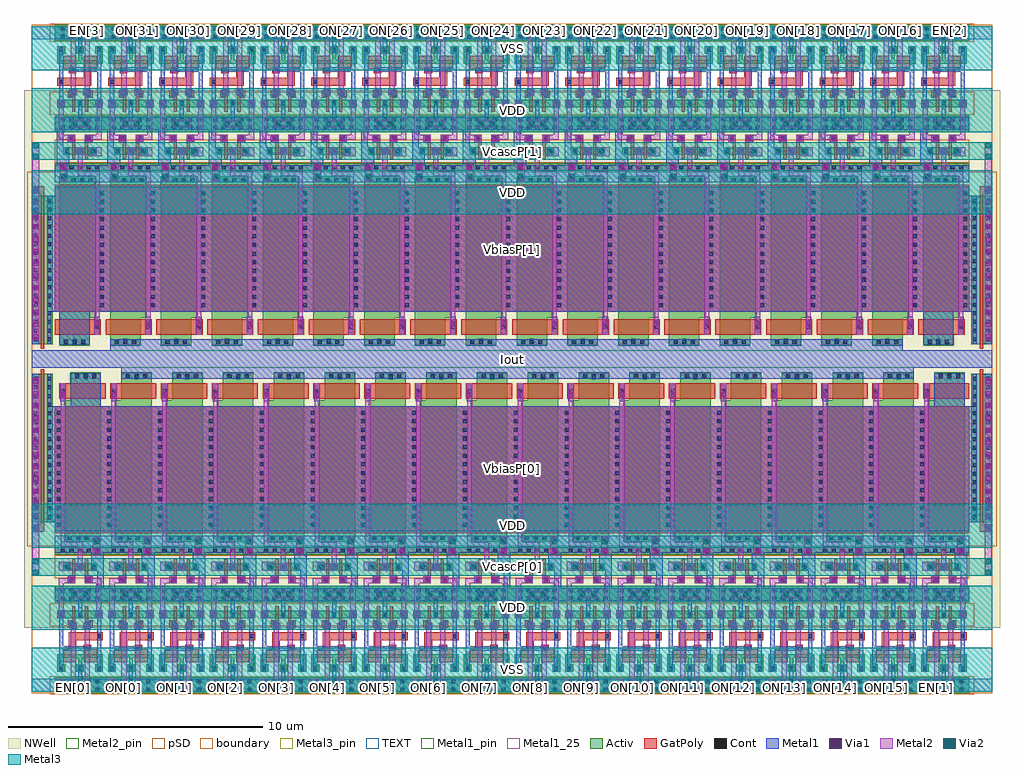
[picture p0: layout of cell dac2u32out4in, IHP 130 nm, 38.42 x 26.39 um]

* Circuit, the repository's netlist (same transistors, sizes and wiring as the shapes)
** sch_path: /home/cmaier/EDA/PUDDING/xschem/dac2u32out4in.sch
.subckt dac2u32out4in VDD EN[1] EN[0] ENB[1] ENB[0] ON[31] ON[30] ON[29] ON[28] ON[27] ON[26] ON[25] ON[24] ON[23] ON[22] ON[21]
+ ON[20] ON[19] ON[18] ON[17] ON[16] ON[15] ON[14] ON[13] ON[12] ON[11] ON[10] ON[9] ON[8] ON[7] ON[6] ON[5] ON[4] ON[3] ON[2] ON[1] ON[0]
+ ONB[15] ONB[14] ONB[13] ONB[12] ONB[11] ONB[10] ONB[9] ONB[8] ONB[7] ONB[6] ONB[5] ONB[4] ONB[3] ONB[2] ONB[1] ONB[0] ENB[3] ENB[2]
+ ONB[31] ONB[30] ONB[29] ONB[28] ONB[27] ONB[26] ONB[25] ONB[24] ONB[23] ONB[22] ONB[21] ONB[20] ONB[19] ONB[18] ONB[17] ONB[16] EN[3]
+ EN[2] Iout Vpcbias[1] Vpcbias[0] Vpbias[1] Vpbias[0] VSS
*.PININFO Iout:B ON[15:0]:I ONB[15:0]:I VSS:B VDD:B Vpcbias[1:0]:B EN[1:0]:I ENB[1:0]:I ON[31:16]:I ONB[31:16]:I EN[3:2]:I
*+ ENB[3:2]:I Vpbias[1:0]:B
Mcbias[0] Vpcbias[0] Vpcbias[0] Vpbias[0] VDD sg13_lv_pmos w=5.85u l=0.15u ng=1 m=2
xref[1] VDD Vpbias[0] EN[1] ENB[1] Vpbias[0] Vpcbias[0] VSS unitsource2u
xref[0] VDD Vpbias[0] EN[0] ENB[0] Vpbias[0] Vpcbias[0] VSS unitsource2u
xsrc[15] VDD Vpbias[0] ON[15] ONB[15] Iout Vpcbias[0] VSS unitsource2u
xsrc[14] VDD Vpbias[0] ON[14] ONB[14] Iout Vpcbias[0] VSS unitsource2u
xsrc[13] VDD Vpbias[0] ON[13] ONB[13] Iout Vpcbias[0] VSS unitsource2u
xsrc[12] VDD Vpbias[0] ON[12] ONB[12] Iout Vpcbias[0] VSS unitsource2u
xsrc[11] VDD Vpbias[0] ON[11] ONB[11] Iout Vpcbias[0] VSS unitsource2u
xsrc[10] VDD Vpbias[0] ON[10] ONB[10] Iout Vpcbias[0] VSS unitsource2u
xsrc[9] VDD Vpbias[0] ON[9] ONB[9] Iout Vpcbias[0] VSS unitsource2u
xsrc[8] VDD Vpbias[0] ON[8] ONB[8] Iout Vpcbias[0] VSS unitsource2u
xsrc[7] VDD Vpbias[0] ON[7] ONB[7] Iout Vpcbias[0] VSS unitsource2u
xsrc[6] VDD Vpbias[0] ON[6] ONB[6] Iout Vpcbias[0] VSS unitsource2u
xsrc[5] VDD Vpbias[0] ON[5] ONB[5] Iout Vpcbias[0] VSS unitsource2u
xsrc[4] VDD Vpbias[0] ON[4] ONB[4] Iout Vpcbias[0] VSS unitsource2u
xsrc[3] VDD Vpbias[0] ON[3] ONB[3] Iout Vpcbias[0] VSS unitsource2u
xsrc[2] VDD Vpbias[0] ON[2] ONB[2] Iout Vpcbias[0] VSS unitsource2u
xsrc[1] VDD Vpbias[0] ON[1] ONB[1] Iout Vpcbias[0] VSS unitsource2u
xsrc[0] VDD Vpbias[0] ON[0] ONB[0] Iout Vpcbias[0] VSS unitsource2u
Mcbias[1] Vpcbias[1] Vpcbias[1] Vpbias[1] VDD sg13_lv_pmos w=5.85u l=0.15u ng=1 m=2
xref[3] VDD Vpbias[1] EN[3] ENB[3] Vpbias[1] Vpcbias[1] VSS unitsource2u
xref[2] VDD Vpbias[1] EN[2] ENB[2] Vpbias[1] Vpcbias[1] VSS unitsource2u
xsrc[31] VDD Vpbias[1] ON[31] ONB[31] Iout Vpcbias[1] VSS unitsource2u
xsrc[30] VDD Vpbias[1] ON[30] ONB[30] Iout Vpcbias[1] VSS unitsource2u
xsrc[29] VDD Vpbias[1] ON[29] ONB[29] Iout Vpcbias[1] VSS unitsource2u
xsrc[28] VDD Vpbias[1] ON[28] ONB[28] Iout Vpcbias[1] VSS unitsource2u
xsrc[27] VDD Vpbias[1] ON[27] ONB[27] Iout Vpcbias[1] VSS unitsource2u
xsrc[26] VDD Vpbias[1] ON[26] ONB[26] Iout Vpcbias[1] VSS unitsource2u
xsrc[25] VDD Vpbias[1] ON[25] ONB[25] Iout Vpcbias[1] VSS unitsource2u
xsrc[24] VDD Vpbias[1] ON[24] ONB[24] Iout Vpcbias[1] VSS unitsource2u
xsrc[23] VDD Vpbias[1] ON[23] ONB[23] Iout Vpcbias[1] VSS unitsource2u
xsrc[22] VDD Vpbias[1] ON[22] ONB[22] Iout Vpcbias[1] VSS unitsource2u
xsrc[21] VDD Vpbias[1] ON[21] ONB[21] Iout Vpcbias[1] VSS unitsource2u
xsrc[20] VDD Vpbias[1] ON[20] ONB[20] Iout Vpcbias[1] VSS unitsource2u
xsrc[19] VDD Vpbias[1] ON[19] ONB[19] Iout Vpcbias[1] VSS unitsource2u
xsrc[18] VDD Vpbias[1] ON[18] ONB[18] Iout Vpcbias[1] VSS unitsource2u
xsrc[17] VDD Vpbias[1] ON[17] ONB[17] Iout Vpcbias[1] VSS unitsource2u
xsrc[16] VDD Vpbias[1] ON[16] ONB[16] Iout Vpcbias[1] VSS unitsource2u
.ends

* expanding   symbol:  unitsource2u.sym # of pins=7
** sym_path: /home/cmaier/EDA/PUDDING/xschem/unitsource2u.sym
** sch_path: /home/cmaier/EDA/PUDDING/xschem/unitsource2u.sch
.subckt unitsource2u VDD VbiasP ON ONB Iout VcascP VSS
*.PININFO VSS:B VDD:B VbiasP:B VcascP:B ON:I ONB:I Iout:B
xnonoverlap VDD VSS ON ONB on_n off_n nonoverlap
xsw VDD off_n Vcasc on_n VcascP cascodeswitch_pmos
xsrc VDD VbiasP Vcasc Iout pcsource2u
.ends


* expanding   symbol:  nonoverlap.sym # of pins=6
** sym_path: /home/cmaier/EDA/PUDDING/xschem/nonoverlap.sym
** sch_path: /home/cmaier/EDA/PUDDING/xschem/nonoverlap.sch
.subckt nonoverlap VDD VSS INP INN OUTN OUTP
*.PININFO VSS:B VDD:B INP:I INN:I OUTP:O OUTN:O
M1 OUTN INP VDD VDD sg13_lv_pmos w=0.3u l=0.13u ng=1 m=1
M2 OUTP INN VDD VDD sg13_lv_pmos w=0.3u l=0.13u ng=1 m=1
M3 OUTN OUTP VSS VSS sg13_lv_nmos w=0.15u l=0.52u ng=1 m=1
M4 OUTP OUTN VSS VSS sg13_lv_nmos w=0.15u l=0.52u ng=1 m=1
.ends


* expanding   symbol:  cascodeswitch_pmos.sym # of pins=5
** sym_path: /home/cmaier/EDA/PUDDING/xschem/cascodeswitch_pmos.sym
** sch_path: /home/cmaier/EDA/PUDDING/xschem/cascodeswitch_pmos.sch
.subckt cascodeswitch_pmos VDD off_n Vcasc on_n Vbpcasc
*.PININFO off_n:I Vbpcasc:I Vcasc:O on_n:I VDD:I
Mpullup Vcasc off_n VDD VDD sg13_lv_pmos w=0.3u l=0.13u ng=1 m=1
Mbias Vbpcasc on_n Vcasc VDD sg13_lv_pmos w=0.3u l=0.13u ng=1 m=1
.ends


* expanding   symbol:  pcsource2u.sym # of pins=4
** sym_path: /home/cmaier/EDA/PUDDING/xschem/pcsource2u.sym
** sch_path: /home/cmaier/EDA/PUDDING/xschem/pcsource2u.sch
.subckt pcsource2u VDD VbiasP VcascodeP Iout
*.PININFO VcascodeP:I VbiasP:I Iout:O VDD:I
Msrc drain VbiasP VDD VDD sg13_lv_pmos w=1.45u l=5u ng=1 m=1
Mcasc Iout VcascodeP drain VDD sg13_lv_pmos w=1.2u l=0.6u ng=1 m=1
.ends

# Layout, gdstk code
from math import pi, radians
import gdstk
lib = gdstk.Library(unit=1e-6, precision=1e-09)
def R(c, l, rs):  # rectangles x0, y0, x1, y1
    for r in rs: c.add(gdstk.rectangle(r[:2], r[2:], *l))
def A(c, l, x, y, w, h, nx, ny, dx, dy):  # array of equal rectangles
    R(c, l, [(x+i*dx, y+j*dy, x+i*dx+w, y+j*dy+h) for i in range(nx) for j in range(ny)])
Activ = (1, 0)
GatPoly = (5, 0)
Cont = (6, 0)
Metal1 = (8, 0)
Metal1_pin = (8, 2)
Metal1_25 = (8, 25)
Metal2 = (10, 0)
Metal2_pin = (10, 2)
pSD = (14, 0)
Via1 = (19, 0)
Via2 = (29, 0)
Metal3 = (30, 0)
Metal3_pin = (30, 2)
NWell = (31, 0)
TEXT = (63, 0)
boundary = (189, 4)

feol_contacts_3_1 = lib.new_cell('FEOL$contacts$3$1')
A(feol_contacts_3_1, Cont, 0.125, 0, 0.16, 0.16, 17, 1, 0.34, 0)
R(feol_contacts_3_1, Metal1, [(0,0,5.85,0.16)])

feol_contacts_8 = lib.new_cell('FEOL$contacts$8')
R(feol_contacts_8, Cont, [(0.05,0,0.21,0.16)])
R(feol_contacts_8, Metal1, [(0,0,0.26,0.16)])

via_stack_5 = lib.new_cell('via_stack$5')
R(via_stack_5, Metal2, [(-0.145,-0.35,0.145,0.35)])
R(via_stack_5, Via2, [(-0.095,-0.3,0.095,-0.11), (-0.095,0.11,0.095,0.3)])
R(via_stack_5, Metal3, [(-0.145,-0.35,0.145,0.35)])

via_stack_6 = lib.new_cell('via_stack$6')
R(via_stack_6, Metal1, [(-0.145,-3.025,0.145,3.025)])
R(via_stack_6, Metal2, [(-0.145,-3.025,0.145,3.025)])
A(via_stack_6, Via1, -0.095, -2.975, 0.19, 0.19, 1, 13, 0, 0.48)

cascodebias = lib.new_cell('CASCODEBIAS')
R(cascodebias, Activ, [(-1.9,1.76,-1.07,7.61)])
R(cascodebias, GatPoly, [(-1.9,1.38,-1.41,1.68), (-1.56,1.68,-1.41,7.79)])
R(cascodebias, Metal1, [(-1.3,1.76,-0.77,6.33)])
R(cascodebias, pSD, [(-2.08,1.46,-0.89,7.91)])
R(cascodebias, NWell, [(-2.21,1.45,-0.76,7.92)])
cascodebias.add(gdstk.FlexPath([(-1.75,7.61),(-1.75,1.4)], 0.29, ends="flush", simple_path=True, layer=8, datatype=0))  # Metal1
cascodebias.add(gdstk.FlexPath([(-1.75,1.61),(-1.75,1.96)], 0.16, ends="flush", simple_path=True, layer=8, datatype=0))  # Metal1
cascodebias.add(gdstk.FlexPath([(-1.75,1.93),(-1.75,0)], 0.29, ends="flush", simple_path=True, layer=10, datatype=0))  # Metal2
cascodebias.add(gdstk.Reference(feol_contacts_3_1, (-1.67,1.76), rotation=pi/2))
cascodebias.add(gdstk.Reference(feol_contacts_3_1, (-1.14,1.76), rotation=pi/2))
cascodebias.add(gdstk.Reference(feol_contacts_8, (-1.67,1.4), rotation=pi/2))
cascodebias.add(gdstk.Reference(via_stack_5, (-1.75,0)))
cascodebias.add(gdstk.Reference(via_stack_6, (-1.75,4.425)))

feol_contacts_4_1_1_1 = lib.new_cell('FEOL$contacts$4$1$1$1')
A(feol_contacts_4_1_1_1, Cont, 0.175, 0, 0.16, 0.16, 14, 1, 0.34, 0)
R(feol_contacts_4_1_1_1, Metal1, [(0,0,4.93,0.16)])

feol_contacts_7_1_1_1 = lib.new_cell('FEOL$contacts$7$1$1$1')
A(feol_contacts_7_1_1_1, Cont, 0.135, 0, 0.16, 0.16, 4, 1, 0.34, 0)
R(feol_contacts_7_1_1_1, Metal1, [(0,0,1.45,0.16)])

feol_contacts_5_1_1_1 = lib.new_cell('FEOL$contacts$5$1$1$1')
A(feol_contacts_5_1_1_1, Cont, 0.2, 0, 0.16, 0.16, 5, 1, 0.34, 0)
R(feol_contacts_5_1_1_1, Metal1, [(0,0,1.92,0.16)])

feol_contacts_6_1_1_1 = lib.new_cell('FEOL$contacts$6$1$1$1')
A(feol_contacts_6_1_1_1, Cont, 0.16, 0, 0.16, 0.16, 3, 1, 0.34, 0)
R(feol_contacts_6_1_1_1, Metal1, [(0,0,1.16,0.16)])

feol_contacts_1_2_1_1 = lib.new_cell('FEOL$contacts$1$2$1$1')
R(feol_contacts_1_2_1_1, Cont, [(0.18,0,0.34,0.16)])
R(feol_contacts_1_2_1_1, Metal1, [(0,0,0.52,0.16)])

pcsource2u = lib.new_cell('PCSOURCE2U')
R(pcsource2u, Activ, [(-1,-6.3,1,-6), (-0.63,-5.79,0.82,-0.22), (-0.38,-0.38,0.82,0.88)])
R(pcsource2u, GatPoly, [(-1,-5.45,1,-0.45), (-0.82,-0.15,1,0.45)])
R(pcsource2u, Metal1, [(-1,-6.23,1,-5.56), (-1,-5.38,1,-0.45), (-0.78,-0.265,-0.56,0.445), (-0.375,0.625,0.815,0.835)])
R(pcsource2u, Metal1_pin, [(-1,-6.23,1,-5.56), (-1,-5.38,1,-0.45)])
R(pcsource2u, Metal1_25, [(-0.375,0.625,0.815,0.835)])
R(pcsource2u, Metal2, [(-0.78,-0.145,-0.56,0.445)])
R(pcsource2u, Metal2_pin, [(-0.775,-0.145,-0.565,0.445)])
R(pcsource2u, pSD, [(-1.12,-5.97,1.12,1.06)])
R(pcsource2u, Via1, [(-0.765,-0.095,-0.575,0.095)])
R(pcsource2u, NWell, [(-1.24,-6.54,1.24,1.19)])
R(pcsource2u, TEXT, [(0.14,0.585,0.3,0.875), (0.125,0.635,0.315,0.825)])
R(pcsource2u, boundary, [(-1,-6.3,1,0.88)])
pcsource2u.add(gdstk.Reference(feol_contacts_4_1_1_1, (-0.77,-5.38), rotation=pi/2))
pcsource2u.add(gdstk.Reference(feol_contacts_7_1_1_1, (-0.63,-5.72)))
pcsource2u.add(gdstk.Reference(feol_contacts_5_1_1_1, (-0.96,-6.23)))
pcsource2u.add(gdstk.Reference(feol_contacts_6_1_1_1, (-0.36,0.65)))
pcsource2u.add(gdstk.Reference(feol_contacts_1_2_1_1, (-0.59,-0.11), rotation=pi/2))
pcsource2u.add(gdstk.Label('VbiasP', (0,-2.915), layer=8, texttype=25))
pcsource2u.add(gdstk.Label('VDD', (0,-5.895), layer=8, texttype=25))
pcsource2u.add(gdstk.Label('Iout', (0.22,0.73), layer=8, texttype=25))
pcsource2u.add(gdstk.Label('VcascodeP', (-0.67,0), layer=10, texttype=25))

feol_contacts_9_1 = lib.new_cell('FEOL$contacts$9$1')
R(feol_contacts_9_1, Cont, [(0.05,0,0.21,0.16)])
R(feol_contacts_9_1, Metal1, [(0,0,0.26,0.16)])

via_stack_2_1_1_1 = lib.new_cell('via_stack$2$1$1$1')
R(via_stack_2_1_1_1, Metal1, [(-0.145,-0.145,0.145,0.145)])
R(via_stack_2_1_1_1, Metal2, [(-0.145,-0.145,0.145,0.145)])
R(via_stack_2_1_1_1, Via1, [(-0.095,-0.095,0.095,0.095)])

via_stack_3_1_1 = lib.new_cell('via_stack$3$1$1')
R(via_stack_3_1_1, Metal1, [(-0.145,-0.145,0.145,0.145)])
R(via_stack_3_1_1, Metal2, [(-0.145,-0.145,0.145,0.145)])
R(via_stack_3_1_1, Via1, [(-0.095,-0.095,0.095,0.095)])
R(via_stack_3_1_1, Via2, [(-0.095,-0.095,0.095,0.095)])
R(via_stack_3_1_1, Metal3, [(-0.145,-0.145,0.145,0.145)])

dac_sw = lib.new_cell('DAC_SW')
R(dac_sw, Activ, [(-0.66,-0.15,0.66,0.15)])
R(dac_sw, GatPoly, [(-0.49,-0.65,-0.19,-0.35), (0.19,-0.65,0.49,-0.35), (-0.32,-0.375,-0.19,0.33), (0.19,-0.375,0.32,0.33)])
A(dac_sw, Cont, -0.59, -0.08, 0.16, 0.16, 3, 1, 0.51, 0)
A(dac_sw, Metal1, -0.59, -0.13, 0.16, 0.26, 3, 1, 0.51, 0)
R(dac_sw, Metal1, [(-0.49,-0.65,-0.19,-0.35), (0.19,-0.65,0.49,-0.35), (-0.66,-0.15,-0.36,0.15), (-0.15,-0.15,0.15,0.15)])
R(dac_sw, Metal2, [(-0.845,-0.145,-0.365,0.205)])
R(dac_sw, pSD, [(-1,-0.45,1,0.45)])
R(dac_sw, NWell, [(-1,-0.5,1,0.5)])
R(dac_sw, boundary, [(-1,-0.36,1,0.36)])
dac_sw.add(gdstk.FlexPath([(0.43,0),(0.8,0),(0.8,-0.985)], 0.26, ends="flush", simple_path=True, layer=8, datatype=0))  # Metal1
dac_sw.add(gdstk.FlexPath([(-0.745,-1.95),(-0.745,-0.545),(-0.24,-0.545)], 0.2, ends="flush", simple_path=True, layer=10, datatype=0))  # Metal2
dac_sw.add(gdstk.FlexPath([(0.74,-1.95),(0.74,-0.545),(0.24,-0.545)], 0.2, ends="flush", simple_path=True, layer=10, datatype=0))  # Metal2
dac_sw.add(gdstk.Reference(feol_contacts_9_1, (-0.26,-0.63), rotation=pi/2))
dac_sw.add(gdstk.Reference(feol_contacts_9_1, (0.42,-0.63), rotation=pi/2))
dac_sw.add(gdstk.Reference(via_stack_2_1_1_1, (-0.34,-0.5)))
dac_sw.add(gdstk.Reference(via_stack_3_1_1, (-0.51,0)))
dac_sw.add(gdstk.Reference(via_stack_2_1_1_1, (0.34,-0.5)))
dac_sw.add(gdstk.Reference(via_stack_2_1_1_1, (0,0)))

feol_contacts_3_2_1 = lib.new_cell('FEOL$contacts$3$2$1')
A(feol_contacts_3_2_1, Cont, 0.2, 0, 0.16, 0.16, 5, 2, 0.34, 0.34)
R(feol_contacts_3_2_1, Metal1, [(0,0,1.92,0.5)])

feol_contacts_1_1_1_1_1 = lib.new_cell('FEOL$contacts$1$1$1$1$1')
R(feol_contacts_1_1_1_1_1, Cont, [(0.05,0,0.21,0.16)])
R(feol_contacts_1_1_1_1_1, Metal1, [(0,0,0.26,0.16)])

via_stack_1_1_1_1_1 = lib.new_cell('via_stack$1$1$1$1$1')
R(via_stack_1_1_1_1_1, Metal1, [(-0.145,-0.145,0.145,0.145)])
R(via_stack_1_1_1_1_1, Metal2, [(-0.145,-0.145,0.145,0.145)])
R(via_stack_1_1_1_1_1, Via1, [(-0.095,-0.095,0.095,0.095)])

nonoverlap = lib.new_cell('NONOVERLAP')
A(nonoverlap, Activ, -0.895, -2.25, 0.3, 0.3, 3, 1, 0.745, 0)
R(nonoverlap, Activ, [(-1,-3.1,1,-2.46), (-0.895,-1.7,0.895,-1.55), (-0.895,-0.15,0.895,0.15), (-1,0.48,1,1.12)])
R(nonoverlap, GatPoly, [(-0.665,-1.88,-0.145,-1.37), (0.145,-1.88,0.665,-1.37), (0.145,-1.48,0.445,-1.18), (0.595,-1,0.895,-0.7), (-0.49,-0.52,-0.19,-0.22), (0.19,-0.52,0.49,-0.22), (-0.32,-0.33,-0.19,0.33), (0.19,-0.33,0.32,0.33)])
R(nonoverlap, Metal1, [(-1,-3.03,1,-2.53), (-1,0.55,1,1.05), (-1,0.55,1,1.05)])
R(nonoverlap, Metal1_pin, [(-1,-3.03,1,-2.53), (-1,0.55,1,1.05)])
R(nonoverlap, Metal2_pin, [(-0.42,-0.6,-0.13,-0.31), (0.13,-0.6,0.42,-0.31), (-0.89,-0.12,-0.6,0.17), (0.6,-0.12,0.89,0.17)])
R(nonoverlap, pSD, [(-1.195,-3.13,1.195,-2.43), (-1.195,-0.45,1.195,0.45)])
R(nonoverlap, NWell, [(-1.24,-0.505,1.24,1.44)])
R(nonoverlap, boundary, [(-1,-3.1,1,1.12)])
nonoverlap.add(gdstk.FlexPath([(0.38,-1.33),(-0.745,-1.33)], 0.16, ends="flush", simple_path=True, layer=8, datatype=0))  # Metal1
nonoverlap.add(gdstk.FlexPath([(-0.745,-2.02),(-0.745,-0.08)], 0.16, ends="flush", simple_path=True, layer=8, datatype=0))  # Metal1
nonoverlap.add(gdstk.FlexPath([(0.745,-2.02),(0.745,-0.08)], 0.16, ends="flush", simple_path=True, layer=8, datatype=0))  # Metal1
nonoverlap.add(gdstk.FlexPath([(0,-2.02),(0,-2.69)], 0.16, ends="flush", simple_path=True, layer=8, datatype=0))  # Metal1
nonoverlap.add(gdstk.FlexPath([(0,0.71),(0,-0.08)], 0.16, ends="flush", simple_path=True, layer=8, datatype=0))  # Metal1
nonoverlap.add(gdstk.FlexPath([(0,-1.63),(0,-2.18)], 0.15, ends="flush", simple_path=True, layer=1, datatype=0))  # Activ
nonoverlap.add(gdstk.FlexPath([(0.82,-1.635),(0.82,-2.18)], 0.15, ends="flush", simple_path=True, layer=1, datatype=0))  # Activ
nonoverlap.add(gdstk.FlexPath([(-0.82,-1.63),(-0.82,-2.18)], 0.15, ends="flush", simple_path=True, layer=1, datatype=0))  # Activ
nonoverlap.add(gdstk.FlexPath([(-0.295,-1.475),(-0.295,-0.85),(0.745,-0.85)], 0.3, ends="flush", simple_path=True, layer=5, datatype=0))  # GatPoly
nonoverlap.add(gdstk.Reference(feol_contacts_3_2_1, (-0.96,0.55)))
nonoverlap.add(gdstk.Reference(feol_contacts_1_1_1_1_1, (0.825,-0.13), rotation=pi/2))
nonoverlap.add(gdstk.Reference(feol_contacts_1_1_1_1_1, (0.08,-0.13), rotation=pi/2))
nonoverlap.add(gdstk.Reference(feol_contacts_1_1_1_1_1, (-0.665,-0.13), rotation=pi/2))
nonoverlap.add(gdstk.Reference(feol_contacts_1_1_1_1_1, (-0.26,-0.5), rotation=pi/2))
nonoverlap.add(gdstk.Reference(feol_contacts_1_1_1_1_1, (0.42,-0.5), rotation=pi/2))
nonoverlap.add(gdstk.Reference(feol_contacts_1_1_1_1_1, (-0.665,-2.23), rotation=pi/2))
nonoverlap.add(gdstk.Reference(feol_contacts_1_1_1_1_1, (0.165,-1.41)))
nonoverlap.add(gdstk.Reference(feol_contacts_1_1_1_1_1, (0.825,-2.23), rotation=pi/2))
nonoverlap.add(gdstk.Reference(feol_contacts_1_1_1_1_1, (0.08,-2.23), rotation=pi/2))
nonoverlap.add(gdstk.Reference(feol_contacts_3_2_1, (-0.96,-3.03)))
nonoverlap.add(gdstk.Reference(via_stack_1_1_1_1_1, (0.275,-0.455)))
nonoverlap.add(gdstk.Reference(via_stack_1_1_1_1_1, (-0.275,-0.455)))
nonoverlap.add(gdstk.Reference(via_stack_1_1_1_1_1, (0.745,0.025)))
nonoverlap.add(gdstk.Reference(via_stack_1_1_1_1_1, (-0.745,0.025)))
nonoverlap.add(gdstk.Reference(feol_contacts_1_1_1_1_1, (0.825,-0.98), rotation=pi/2))
nonoverlap.add(gdstk.Label('VSS', (0,-2.78), layer=8, texttype=25))
nonoverlap.add(gdstk.Label('VDD', (0,0.8), layer=8, texttype=25))
nonoverlap.add(gdstk.Label('OUTN', (-0.745,0.025), layer=10, texttype=25))
nonoverlap.add(gdstk.Label('INP', (-0.275,-0.455), layer=10, texttype=25))
nonoverlap.add(gdstk.Label('OUTP', (0.745,0.025), layer=10, texttype=25))
nonoverlap.add(gdstk.Label('INN', (0.275,-0.455), layer=10, texttype=25))

cascodedrive = lib.new_cell('CASCODEDRIVE')
cascodedrive.add(gdstk.Reference(dac_sw, (0,0)))
cascodedrive.add(gdstk.Reference(nonoverlap, (0,-1.88)))

via_stack_7 = lib.new_cell('via_stack$7')
R(via_stack_7, Metal1, [(-0.145,-0.35,0.145,0.35)])
R(via_stack_7, Metal2, [(-0.145,-0.35,0.145,0.35)])
R(via_stack_7, Via1, [(-0.095,-0.3,0.095,-0.11), (-0.095,0.11,0.095,0.3)])

via_stack_4_1 = lib.new_cell('via_stack$4$1')
R(via_stack_4_1, Metal1, [(-0.35,-0.145,0.35,0.145)])
R(via_stack_4_1, Metal2, [(-0.35,-0.145,0.35,0.145)])
R(via_stack_4_1, Via1, [(-0.3,-0.095,-0.11,0.095), (0.11,-0.095,0.3,0.095)])
R(via_stack_4_1, Via2, [(-0.3,-0.095,-0.11,0.095), (0.11,-0.095,0.3,0.095)])
R(via_stack_4_1, Metal3, [(-0.35,-0.145,0.35,0.145)])

via_stack_6_2_1 = lib.new_cell('via_stack$6$2$1')
R(via_stack_6_2_1, Metal2, [(-0.145,-0.145,0.145,0.145)])
R(via_stack_6_2_1, Via2, [(-0.095,-0.095,0.095,0.095)])
R(via_stack_6_2_1, Metal3, [(-0.145,-0.145,0.145,0.145)])

via_stack_9_1 = lib.new_cell('via_stack$9$1')
R(via_stack_9_1, Metal1, [(-0.145,-0.145,0.145,0.145)])
R(via_stack_9_1, Metal2, [(-0.145,-0.145,0.145,0.145)])
R(via_stack_9_1, Via1, [(-0.095,-0.095,0.095,0.095)])
R(via_stack_9_1, Via2, [(-0.095,-0.095,0.095,0.095)])
R(via_stack_9_1, Metal3, [(-0.145,-0.145,0.145,0.145)])

unitsource2u = lib.new_cell('unitsource2u')
R(unitsource2u, Metal1, [(0.43,-0.13,0.93,0.71)])
R(unitsource2u, Metal1_pin, [(-1,0.55,1,1.22), (-1,1.4,1,6.33), (-0.375,7.405,0.815,7.615)])
R(unitsource2u, Metal2, [(-0.92,-4.91,-0.63,-4.41)])
R(unitsource2u, Metal2_pin, [(-0.375,-4.91,-0.175,-4.62), (0.175,-4.91,0.375,-4.62)])
R(unitsource2u, Metal3, [(-1,-4.91,1,-3.18), (-1,-2.48,1,-0.75), (-1,0.75,1,2.48)])
R(unitsource2u, Metal3_pin, [(-1,-4.91,1,-3.18), (-1,-2.48,1,-0.75), (-1,-0.35,1,0.35), (-1,0.75,1,2.48)])
R(unitsource2u, NWell, [(-1.24,-2.385,1.24,7.97)])
unitsource2u.add(gdstk.FlexPath([(-0.275,-4.91),(-0.275,-2.19)], 0.2, ends="flush", simple_path=True, layer=10, datatype=0))  # Metal2
unitsource2u.add(gdstk.FlexPath([(0.275,-4.91),(0.275,-2.19)], 0.2, ends="flush", simple_path=True, layer=10, datatype=0))  # Metal2
unitsource2u.add(gdstk.FlexPath([(-0.67,6.685),(-0.67,0.885),(0,0.885),(0,0.095)], 0.2, ends="flush", simple_path=True, layer=10, datatype=0))  # Metal2
unitsource2u.add(gdstk.FlexPath([(-1,0),(1,0)], 0.7, ends="flush", simple_path=True, layer=30, datatype=0))  # Metal3
unitsource2u.add(gdstk.Reference(pcsource2u, (0,6.78)))
unitsource2u.add(gdstk.Reference(cascodedrive, (0,0)))
unitsource2u.add(gdstk.Reference(via_stack_7, (0.65,0.87)))
unitsource2u.add(gdstk.Reference(via_stack_4_1, (0,-1.08)))
unitsource2u.add(gdstk.Reference(via_stack_6_2_1, (0.65,0.985)))
unitsource2u.add(gdstk.Reference(via_stack_9_1, (-0.775,-4.66)))
unitsource2u.add(gdstk.Label('VDD', (0,1.615), layer=30, texttype=0))
unitsource2u.add(gdstk.Label('VbiasP', (0,3.865), layer=8, texttype=25))
unitsource2u.add(gdstk.Label('Iout', (0.22,7.51), layer=8, texttype=25))
unitsource2u.add(gdstk.Label('ON', (-0.275,-4.765), layer=10, texttype=25))
unitsource2u.add(gdstk.Label('ONB', (0.275,-4.765), layer=10, texttype=25))
unitsource2u.add(gdstk.Label('VSS', (0,-4.045), layer=30, texttype=25))
unitsource2u.add(gdstk.Label('VDD', (0,-1.615), layer=30, texttype=25))
unitsource2u.add(gdstk.Label('VcascP', (0,0), layer=30, texttype=25))

dac2u16out2in = lib.new_cell('dac2u16out2in')
R(dac2u16out2in, Metal1, [(-0.375,6.2,0.815,7.615), (33.625,6.2,34.815,7.615), (1.625,7.405,32.815,8.535)])
R(dac2u16out2in, Metal1_pin, [(-1,1.4,35,6.33), (-1.9,7.835,35.9,8.535)])
R(dac2u16out2in, Metal2_pin, [(-0.375,-4.91,-0.175,-4.62), (-0.375,-4.91,-0.175,-4.62), (0.175,-4.91,0.375,-4.62), (0.175,-4.91,0.375,-4.62), (1.625,-4.91,1.825,-4.62), (1.625,-4.91,1.825,-4.62), (2.175,-4.91,2.375,-4.62), (2.175,-4.91,2.375,-4.62), (3.625,-4.91,3.825,-4.62), (3.625,-4.91,3.825,-4.62), (4.175,-4.91,4.375,-4.62), (4.175,-4.91,4.375,-4.62), (5.625,-4.91,5.825,-4.62), (5.625,-4.91,5.825,-4.62), (6.175,-4.91,6.375,-4.62), (6.175,-4.91,6.375,-4.62), (7.625,-4.91,7.825,-4.62), (7.625,-4.91,7.825,-4.62), (8.175,-4.91,8.375,-4.62), (8.175,-4.91,8.375,-4.62), (9.625,-4.91,9.825,-4.62), (9.625,-4.91,9.825,-4.62), (10.175,-4.91,10.375,-4.62), (10.175,-4.91,10.375,-4.62), (11.625,-4.91,11.825,-4.62), (11.625,-4.91,11.825,-4.62), (12.175,-4.91,12.375,-4.62), (12.175,-4.91,12.375,-4.62), (13.625,-4.91,13.825,-4.62), (13.625,-4.91,13.825,-4.62), (14.175,-4.91,14.375,-4.62), (14.175,-4.91,14.375,-4.62), (15.625,-4.91,15.825,-4.62), (15.625,-4.91,15.825,-4.62), (16.175,-4.91,16.375,-4.62), (16.175,-4.91,16.375,-4.62), (17.625,-4.91,17.825,-4.62), (17.625,-4.91,17.825,-4.62), (18.175,-4.91,18.375,-4.62), (18.175,-4.91,18.375,-4.62), (19.625,-4.91,19.825,-4.62), (19.625,-4.91,19.825,-4.62), (20.175,-4.91,20.375,-4.62), (20.175,-4.91,20.375,-4.62), (21.625,-4.91,21.825,-4.62), (21.625,-4.91,21.825,-4.62), (22.175,-4.91,22.375,-4.62), (22.175,-4.91,22.375,-4.62), (23.625,-4.91,23.825,-4.62), (23.625,-4.91,23.825,-4.62), (24.175,-4.91,24.375,-4.62), (24.175,-4.91,24.375,-4.62), (25.625,-4.91,25.825,-4.62), (25.625,-4.91,25.825,-4.62), (26.175,-4.91,26.375,-4.62), (26.175,-4.91,26.375,-4.62), (27.625,-4.91,27.825,-4.62), (27.625,-4.91,27.825,-4.62), (28.175,-4.91,28.375,-4.62), (28.175,-4.91,28.375,-4.62), (29.625,-4.91,29.825,-4.62), (29.625,-4.91,29.825,-4.62), (30.175,-4.91,30.375,-4.62), (30.175,-4.91,30.375,-4.62), (31.625,-4.91,31.825,-4.62), (31.625,-4.91,31.825,-4.62), (32.175,-4.91,32.375,-4.62), (32.175,-4.91,32.375,-4.62), (33.625,-4.91,33.825,-4.62), (33.625,-4.91,33.825,-4.62), (34.175,-4.91,34.375,-4.62), (34.175,-4.91,34.375,-4.62)])
R(dac2u16out2in, Metal3_pin, [(-1.9,-4.91,35.9,-3.18), (-1.9,-2.48,35.9,-0.75), (-1.9,-0.35,35.9,0.35), (-1.9,0.75,35.9,2.48)])
dac2u16out2in.add(gdstk.FlexPath([(-1.9,8.185),(35.9,8.185)], 0.7, ends="flush", simple_path=True, layer=8, datatype=0))  # Metal1
dac2u16out2in.add(gdstk.FlexPath([(-1.9,-4.66),(35.9,-4.66)], 0.5, ends="flush", simple_path=True, layer=8, datatype=0))  # Metal1
dac2u16out2in.add(gdstk.FlexPath([(-1.9,1.615),(35.9,1.615)], 1.73, ends="flush", simple_path=True, layer=30, datatype=0))  # Metal3
dac2u16out2in.add(gdstk.FlexPath([(-1.9,0),(35.9,0)], 0.7, ends="flush", simple_path=True, layer=30, datatype=0))  # Metal3
dac2u16out2in.add(gdstk.FlexPath([(-1.9,-1.615),(35.9,-1.615)], 1.73, ends="flush", simple_path=True, layer=30, datatype=0))  # Metal3
dac2u16out2in.add(gdstk.FlexPath([(-1.9,-4.045),(35.9,-4.045)], 1.73, ends="flush", simple_path=True, layer=30, datatype=0))  # Metal3
dac2u16out2in.add(gdstk.Reference(cascodebias, (0,0)))
r = gdstk.Reference(unitsource2u, (0,0)); r.repetition = gdstk.Repetition(18, 1, v1=(2,0), v2=(0,0)); dac2u16out2in.add(r)
dac2u16out2in.add(gdstk.Reference(cascodebias, (34,0), rotation=pi, x_reflection=True))
dac2u16out2in.add(gdstk.Label('VbiasP', (17,3.865), layer=8, texttype=25))
dac2u16out2in.add(gdstk.Label('Iout', (17,8.185), layer=8, texttype=25))
dac2u16out2in.add(gdstk.Label('EN[1]', (33.725,-4.765), layer=10, texttype=25))
dac2u16out2in.add(gdstk.Label('ENB[1]', (34.275,-4.765), layer=10, texttype=25))
dac2u16out2in.add(gdstk.Label('ON[0]', (1.725,-4.765), layer=10, texttype=25))
dac2u16out2in.add(gdstk.Label('ONB[0]', (2.275,-4.765), layer=10, texttype=25))
dac2u16out2in.add(gdstk.Label('ON[1]', (3.725,-4.765), layer=10, texttype=25))
dac2u16out2in.add(gdstk.Label('ONB[1]', (4.275,-4.765), layer=10, texttype=25))
dac2u16out2in.add(gdstk.Label('ON[2]', (5.725,-4.765), layer=10, texttype=25))
dac2u16out2in.add(gdstk.Label('ONB[2]', (6.275,-4.765), layer=10, texttype=25))
dac2u16out2in.add(gdstk.Label('ON[3]', (7.725,-4.765), layer=10, texttype=25))
dac2u16out2in.add(gdstk.Label('ONB[3]', (8.275,-4.765), layer=10, texttype=25))
dac2u16out2in.add(gdstk.Label('ON[4]', (9.725,-4.765), layer=10, texttype=25))
dac2u16out2in.add(gdstk.Label('ONB[4]', (10.275,-4.765), layer=10, texttype=25))
dac2u16out2in.add(gdstk.Label('EN[0]', (-0.275,-4.765), layer=10, texttype=25))
dac2u16out2in.add(gdstk.Label('ENB[0]', (0.275,-4.765), layer=10, texttype=25))
dac2u16out2in.add(gdstk.Label('ON', (-0.275,-4.765), layer=10, texttype=25))
dac2u16out2in.add(gdstk.Label('ONB', (0.275,-4.765), layer=10, texttype=25))
dac2u16out2in.add(gdstk.Label('ON', (1.725,-4.765), layer=10, texttype=25))
dac2u16out2in.add(gdstk.Label('ONB', (2.275,-4.765), layer=10, texttype=25))
dac2u16out2in.add(gdstk.Label('ON', (3.725,-4.765), layer=10, texttype=25))
dac2u16out2in.add(gdstk.Label('ONB', (4.275,-4.765), layer=10, texttype=25))
dac2u16out2in.add(gdstk.Label('ON', (5.725,-4.765), layer=10, texttype=25))
dac2u16out2in.add(gdstk.Label('ONB', (6.275,-4.765), layer=10, texttype=25))
dac2u16out2in.add(gdstk.Label('ON', (7.725,-4.765), layer=10, texttype=25))
dac2u16out2in.add(gdstk.Label('ONB', (8.275,-4.765), layer=10, texttype=25))
dac2u16out2in.add(gdstk.Label('ON', (9.725,-4.765), layer=10, texttype=25))
dac2u16out2in.add(gdstk.Label('ONB', (10.275,-4.765), layer=10, texttype=25))
dac2u16out2in.add(gdstk.Label('ON[5]', (11.725,-4.765), layer=10, texttype=25))
dac2u16out2in.add(gdstk.Label('ONB[5]', (12.275,-4.765), layer=10, texttype=25))
dac2u16out2in.add(gdstk.Label('ON[6]', (13.725,-4.765), layer=10, texttype=25))
dac2u16out2in.add(gdstk.Label('ONB[6]', (14.275,-4.765), layer=10, texttype=25))
dac2u16out2in.add(gdstk.Label('ON[7]', (15.725,-4.765), layer=10, texttype=25))
dac2u16out2in.add(gdstk.Label('ONB[7]', (16.275,-4.765), layer=10, texttype=25))
dac2u16out2in.add(gdstk.Label('ON[8]', (17.725,-4.765), layer=10, texttype=25))
dac2u16out2in.add(gdstk.Label('ONB[8]', (18.275,-4.765), layer=10, texttype=25))
dac2u16out2in.add(gdstk.Label('ON[9]', (19.725,-4.765), layer=10, texttype=25))
dac2u16out2in.add(gdstk.Label('ONB[9]', (20.275,-4.765), layer=10, texttype=25))
dac2u16out2in.add(gdstk.Label('ON[10]', (21.725,-4.765), layer=10, texttype=25))
dac2u16out2in.add(gdstk.Label('ONB[10]', (22.275,-4.765), layer=10, texttype=25))
dac2u16out2in.add(gdstk.Label('ON', (11.725,-4.765), layer=10, texttype=25))
dac2u16out2in.add(gdstk.Label('ONB', (12.275,-4.765), layer=10, texttype=25))
dac2u16out2in.add(gdstk.Label('ON', (13.725,-4.765), layer=10, texttype=25))
dac2u16out2in.add(gdstk.Label('ONB', (14.275,-4.765), layer=10, texttype=25))
dac2u16out2in.add(gdstk.Label('ON', (15.725,-4.765), layer=10, texttype=25))
dac2u16out2in.add(gdstk.Label('ONB', (16.275,-4.765), layer=10, texttype=25))
dac2u16out2in.add(gdstk.Label('ON', (17.725,-4.765), layer=10, texttype=25))
dac2u16out2in.add(gdstk.Label('ONB', (18.275,-4.765), layer=10, texttype=25))
dac2u16out2in.add(gdstk.Label('ON', (19.725,-4.765), layer=10, texttype=25))
dac2u16out2in.add(gdstk.Label('ONB', (20.275,-4.765), layer=10, texttype=25))
dac2u16out2in.add(gdstk.Label('ON', (21.725,-4.765), layer=10, texttype=25))
dac2u16out2in.add(gdstk.Label('ONB', (22.275,-4.765), layer=10, texttype=25))
dac2u16out2in.add(gdstk.Label('ON[11]', (23.725,-4.765), layer=10, texttype=25))
dac2u16out2in.add(gdstk.Label('ONB[11]', (24.275,-4.765), layer=10, texttype=25))
dac2u16out2in.add(gdstk.Label('ON[12]', (25.725,-4.765), layer=10, texttype=25))
dac2u16out2in.add(gdstk.Label('ONB[12]', (26.275,-4.765), layer=10, texttype=25))
dac2u16out2in.add(gdstk.Label('ON[13]', (27.725,-4.765), layer=10, texttype=25))
dac2u16out2in.add(gdstk.Label('ONB[13]', (28.275,-4.765), layer=10, texttype=25))
dac2u16out2in.add(gdstk.Label('ON[14]', (29.725,-4.765), layer=10, texttype=25))
dac2u16out2in.add(gdstk.Label('ONB[14]', (30.275,-4.765), layer=10, texttype=25))
dac2u16out2in.add(gdstk.Label('ON[15]', (31.725,-4.765), layer=10, texttype=25))
dac2u16out2in.add(gdstk.Label('ONB[15]', (32.275,-4.765), layer=10, texttype=25))
dac2u16out2in.add(gdstk.Label('ON', (23.725,-4.765), layer=10, texttype=25))
dac2u16out2in.add(gdstk.Label('ONB', (24.275,-4.765), layer=10, texttype=25))
dac2u16out2in.add(gdstk.Label('ON', (25.725,-4.765), layer=10, texttype=25))
dac2u16out2in.add(gdstk.Label('ONB', (26.275,-4.765), layer=10, texttype=25))
dac2u16out2in.add(gdstk.Label('ON', (27.725,-4.765), layer=10, texttype=25))
dac2u16out2in.add(gdstk.Label('ONB', (28.275,-4.765), layer=10, texttype=25))
dac2u16out2in.add(gdstk.Label('ON', (29.725,-4.765), layer=10, texttype=25))
dac2u16out2in.add(gdstk.Label('ONB', (30.275,-4.765), layer=10, texttype=25))
dac2u16out2in.add(gdstk.Label('ON', (31.725,-4.765), layer=10, texttype=25))
dac2u16out2in.add(gdstk.Label('ONB', (32.275,-4.765), layer=10, texttype=25))
dac2u16out2in.add(gdstk.Label('ON', (33.725,-4.765), layer=10, texttype=25))
dac2u16out2in.add(gdstk.Label('ONB', (34.275,-4.765), layer=10, texttype=25))
dac2u16out2in.add(gdstk.Label('VDD', (17,1.615), layer=30, texttype=25))
dac2u16out2in.add(gdstk.Label('VcascP', (17,0), layer=30, texttype=25))
dac2u16out2in.add(gdstk.Label('VDD', (17,-1.615), layer=30, texttype=25))
dac2u16out2in.add(gdstk.Label('VSS', (17,-4.045), layer=30, texttype=25))

dac2u32out4in = lib.new_cell('dac2u32out4in')
R(dac2u32out4in, Metal1_pin, [(0.9,6.31,36.9,11.24), (0,12.745,37.8,13.445), (0.9,14.95,36.9,19.88)])
R(dac2u32out4in, Metal2_pin, [(1.525,0,1.725,0.29), (2.075,0,2.275,0.29), (3.525,0,3.725,0.29), (4.075,0,4.275,0.29), (5.525,0,5.725,0.29), (6.075,0,6.275,0.29), (7.525,0,7.725,0.29), (8.075,0,8.275,0.29), (9.525,0,9.725,0.29), (10.075,0,10.275,0.29), (11.525,0,11.725,0.29), (12.075,0,12.275,0.29), (13.525,0,13.725,0.29), (14.075,0,14.275,0.29), (15.525,0,15.725,0.29), (16.075,0,16.275,0.29), (17.525,0,17.725,0.29), (18.075,0,18.275,0.29), (19.525,0,19.725,0.29), (20.075,0,20.275,0.29), (21.525,0,21.725,0.29), (22.075,0,22.275,0.29), (23.525,0,23.725,0.29), (24.075,0,24.275,0.29), (25.525,0,25.725,0.29), (26.075,0,26.275,0.29), (27.525,0,27.725,0.29), (28.075,0,28.275,0.29), (29.525,0,29.725,0.29), (30.075,0,30.275,0.29), (31.525,0,31.725,0.29), (32.075,0,32.275,0.29), (33.525,0,33.725,0.29), (34.075,0,34.275,0.29), (35.525,0,35.725,0.29), (36.075,0,36.275,0.29), (1.525,25.9,1.725,26.19), (2.075,25.9,2.275,26.19), (3.525,25.9,3.725,26.19), (4.075,25.9,4.275,26.19), (5.525,25.9,5.725,26.19), (6.075,25.9,6.275,26.19), (7.525,25.9,7.725,26.19), (8.075,25.9,8.275,26.19), (9.525,25.9,9.725,26.19), (10.075,25.9,10.275,26.19), (11.525,25.9,11.725,26.19), (12.075,25.9,12.275,26.19), (13.525,25.9,13.725,26.19), (14.075,25.9,14.275,26.19), (15.525,25.9,15.725,26.19), (16.075,25.9,16.275,26.19), (17.525,25.9,17.725,26.19), (18.075,25.9,18.275,26.19), (19.525,25.9,19.725,26.19), (20.075,25.9,20.275,26.19), (21.525,25.9,21.725,26.19), (22.075,25.9,22.275,26.19), (23.525,25.9,23.725,26.19), (24.075,25.9,24.275,26.19), (25.525,25.9,25.725,26.19), (26.075,25.9,26.275,26.19), (27.525,25.9,27.725,26.19), (28.075,25.9,28.275,26.19), (29.525,25.9,29.725,26.19), (30.075,25.9,30.275,26.19), (31.525,25.9,31.725,26.19), (32.075,25.9,32.275,26.19), (33.525,25.9,33.725,26.19), (34.075,25.9,34.275,26.19), (35.525,25.9,35.725,26.19), (36.075,25.9,36.275,26.19)])
R(dac2u32out4in, pSD, [(-0.18,5.72,37.98,20.47)])
R(dac2u32out4in, Metal3_pin, [(0,0,37.8,1.73), (0,2.43,37.8,4.16), (0,4.56,37.8,5.26), (0,5.66,37.8,7.39), (0,18.8,37.8,20.53), (0,20.93,37.8,21.63), (0,22.03,37.8,23.76), (0,24.46,37.8,26.19)])
R(dac2u32out4in, NWell, [(-0.31,2.525,38.11,23.665)])
R(dac2u32out4in, boundary, [(0,-0.07,37.8,26.26)])
dac2u32out4in.add(gdstk.Reference(dac2u16out2in, (1.9,4.91)))
dac2u32out4in.add(gdstk.Reference(dac2u16out2in, (35.9,21.28), rotation=pi))
dac2u32out4in.add(gdstk.Label('VbiasP[1]', (18.9,17.415), layer=8, texttype=25))
dac2u32out4in.add(gdstk.Label('Iout', (18.9,13.095), layer=8, texttype=25))
dac2u32out4in.add(gdstk.Label('VbiasP[0]', (18.9,8.775), layer=8, texttype=25))
dac2u32out4in.add(gdstk.Label('EN[1]', (35.625,0.145), layer=10, texttype=25))
dac2u32out4in.add(gdstk.Label('ENB[1]', (36.175,0.145), layer=10, texttype=25))
dac2u32out4in.add(gdstk.Label('EN[2]', (36.175,26.045), layer=10, texttype=25))
dac2u32out4in.add(gdstk.Label('ENB[2]', (35.625,26.045), layer=10, texttype=25))
dac2u32out4in.add(gdstk.Label('ON[16]', (34.175,26.045), layer=10, texttype=25))
dac2u32out4in.add(gdstk.Label('ONB[16]', (33.625,26.045), layer=10, texttype=25))
dac2u32out4in.add(gdstk.Label('ON[17]', (32.175,26.045), layer=10, texttype=25))
dac2u32out4in.add(gdstk.Label('ONB[17]', (31.625,26.045), layer=10, texttype=25))
dac2u32out4in.add(gdstk.Label('ON[18]', (30.175,26.045), layer=10, texttype=25))
dac2u32out4in.add(gdstk.Label('ONB[18]', (29.625,26.045), layer=10, texttype=25))
dac2u32out4in.add(gdstk.Label('ON[19]', (28.175,26.045), layer=10, texttype=25))
dac2u32out4in.add(gdstk.Label('ONB[19]', (27.625,26.045), layer=10, texttype=25))
dac2u32out4in.add(gdstk.Label('ON[20]', (26.175,26.045), layer=10, texttype=25))
dac2u32out4in.add(gdstk.Label('ONB[20]', (25.625,26.045), layer=10, texttype=25))
dac2u32out4in.add(gdstk.Label('ON[21]', (24.175,26.045), layer=10, texttype=25))
dac2u32out4in.add(gdstk.Label('ONB[21]', (23.625,26.045), layer=10, texttype=25))
dac2u32out4in.add(gdstk.Label('ON[22]', (22.175,26.045), layer=10, texttype=25))
dac2u32out4in.add(gdstk.Label('ONB[22]', (21.625,26.045), layer=10, texttype=25))
dac2u32out4in.add(gdstk.Label('ON[23]', (20.175,26.045), layer=10, texttype=25))
dac2u32out4in.add(gdstk.Label('ONB[23]', (19.625,26.045), layer=10, texttype=25))
dac2u32out4in.add(gdstk.Label('ON[24]', (18.175,26.045), layer=10, texttype=25))
dac2u32out4in.add(gdstk.Label('ONB[24]', (17.625,26.045), layer=10, texttype=25))
dac2u32out4in.add(gdstk.Label('ON[25]', (16.175,26.045), layer=10, texttype=25))
dac2u32out4in.add(gdstk.Label('ONB[25]', (15.625,26.045), layer=10, texttype=25))
dac2u32out4in.add(gdstk.Label('ON[26]', (14.175,26.045), layer=10, texttype=25))
dac2u32out4in.add(gdstk.Label('ONB[26]', (13.625,26.045), layer=10, texttype=25))
dac2u32out4in.add(gdstk.Label('ON[27]', (12.175,26.045), layer=10, texttype=25))
dac2u32out4in.add(gdstk.Label('ONB[27]', (11.625,26.045), layer=10, texttype=25))
dac2u32out4in.add(gdstk.Label('ON[28]', (10.175,26.045), layer=10, texttype=25))
dac2u32out4in.add(gdstk.Label('ONB[28]', (9.625,26.045), layer=10, texttype=25))
dac2u32out4in.add(gdstk.Label('ON[29]', (8.175,26.045), layer=10, texttype=25))
dac2u32out4in.add(gdstk.Label('ONB[29]', (7.625,26.045), layer=10, texttype=25))
dac2u32out4in.add(gdstk.Label('ON[30]', (6.175,26.045), layer=10, texttype=25))
dac2u32out4in.add(gdstk.Label('ONB[30]', (5.625,26.045), layer=10, texttype=25))
dac2u32out4in.add(gdstk.Label('ON[31]', (4.175,26.045), layer=10, texttype=25))
dac2u32out4in.add(gdstk.Label('ONB[31]', (3.625,26.045), layer=10, texttype=25))
dac2u32out4in.add(gdstk.Label('EN[3]', (2.175,26.045), layer=10, texttype=25))
dac2u32out4in.add(gdstk.Label('ENB[3]', (1.625,26.045), layer=10, texttype=25))
dac2u32out4in.add(gdstk.Label('ON[0]', (3.625,0.145), layer=10, texttype=25))
dac2u32out4in.add(gdstk.Label('ONB[0]', (4.175,0.145), layer=10, texttype=25))
dac2u32out4in.add(gdstk.Label('ON[1]', (5.625,0.145), layer=10, texttype=25))
dac2u32out4in.add(gdstk.Label('ONB[1]', (6.175,0.145), layer=10, texttype=25))
dac2u32out4in.add(gdstk.Label('ON[2]', (7.625,0.145), layer=10, texttype=25))
dac2u32out4in.add(gdstk.Label('ONB[2]', (8.175,0.145), layer=10, texttype=25))
dac2u32out4in.add(gdstk.Label('ON[3]', (9.625,0.145), layer=10, texttype=25))
dac2u32out4in.add(gdstk.Label('ONB[3]', (10.175,0.145), layer=10, texttype=25))
dac2u32out4in.add(gdstk.Label('ON[4]', (11.625,0.145), layer=10, texttype=25))
dac2u32out4in.add(gdstk.Label('ONB[4]', (12.175,0.145), layer=10, texttype=25))
dac2u32out4in.add(gdstk.Label('ON[5]', (13.625,0.145), layer=10, texttype=25))
dac2u32out4in.add(gdstk.Label('ONB[5]', (14.175,0.145), layer=10, texttype=25))
dac2u32out4in.add(gdstk.Label('ON[6]', (15.625,0.145), layer=10, texttype=25))
dac2u32out4in.add(gdstk.Label('EN[0]', (1.625,0.145), layer=10, texttype=25))
dac2u32out4in.add(gdstk.Label('ENB[0]', (2.175,0.145), layer=10, texttype=25))
dac2u32out4in.add(gdstk.Label('ONB[6]', (16.175,0.145), layer=10, texttype=25))
dac2u32out4in.add(gdstk.Label('ON[7]', (17.625,0.145), layer=10, texttype=25))
dac2u32out4in.add(gdstk.Label('ONB[7]', (18.175,0.145), layer=10, texttype=25))
dac2u32out4in.add(gdstk.Label('ON[8]', (19.625,0.145), layer=10, texttype=25))
dac2u32out4in.add(gdstk.Label('ONB[8]', (20.175,0.145), layer=10, texttype=25))
dac2u32out4in.add(gdstk.Label('ON[9]', (21.625,0.145), layer=10, texttype=25))
dac2u32out4in.add(gdstk.Label('ONB[9]', (22.175,0.145), layer=10, texttype=25))
dac2u32out4in.add(gdstk.Label('ON[10]', (23.625,0.145), layer=10, texttype=25))
dac2u32out4in.add(gdstk.Label('ONB[10]', (24.175,0.145), layer=10, texttype=25))
dac2u32out4in.add(gdstk.Label('ON[11]', (25.625,0.145), layer=10, texttype=25))
dac2u32out4in.add(gdstk.Label('ONB[11]', (26.175,0.145), layer=10, texttype=25))
dac2u32out4in.add(gdstk.Label('ON[12]', (27.625,0.145), layer=10, texttype=25))
dac2u32out4in.add(gdstk.Label('ONB[12]', (28.175,0.145), layer=10, texttype=25))
dac2u32out4in.add(gdstk.Label('ON[13]', (29.625,0.145), layer=10, texttype=25))
dac2u32out4in.add(gdstk.Label('ONB[13]', (30.175,0.145), layer=10, texttype=25))
dac2u32out4in.add(gdstk.Label('ON[14]', (31.625,0.145), layer=10, texttype=25))
dac2u32out4in.add(gdstk.Label('ONB[14]', (32.175,0.145), layer=10, texttype=25))
dac2u32out4in.add(gdstk.Label('ON[15]', (33.625,0.145), layer=10, texttype=25))
dac2u32out4in.add(gdstk.Label('ONB[15]', (34.175,0.145), layer=10, texttype=25))
dac2u32out4in.add(gdstk.Label('VcascP[0]', (18.9,4.91), layer=30, texttype=25))
dac2u32out4in.add(gdstk.Label('VSS', (18.9,0.865), layer=30, texttype=25))
dac2u32out4in.add(gdstk.Label('VSS', (18.9,25.325), layer=30, texttype=25))
dac2u32out4in.add(gdstk.Label('VDD', (18.9,3.295), layer=30, texttype=25))
dac2u32out4in.add(gdstk.Label('VDD', (18.9,6.525), layer=30, texttype=25))
dac2u32out4in.add(gdstk.Label('VDD', (18.9,22.895), layer=30, texttype=25))
dac2u32out4in.add(gdstk.Label('VDD', (18.9,19.665), layer=30, texttype=25))
dac2u32out4in.add(gdstk.Label('VcascP[1]', (18.9,21.28), layer=30, texttype=25))

lib.write_gds('dac2u32out4in.gds')
